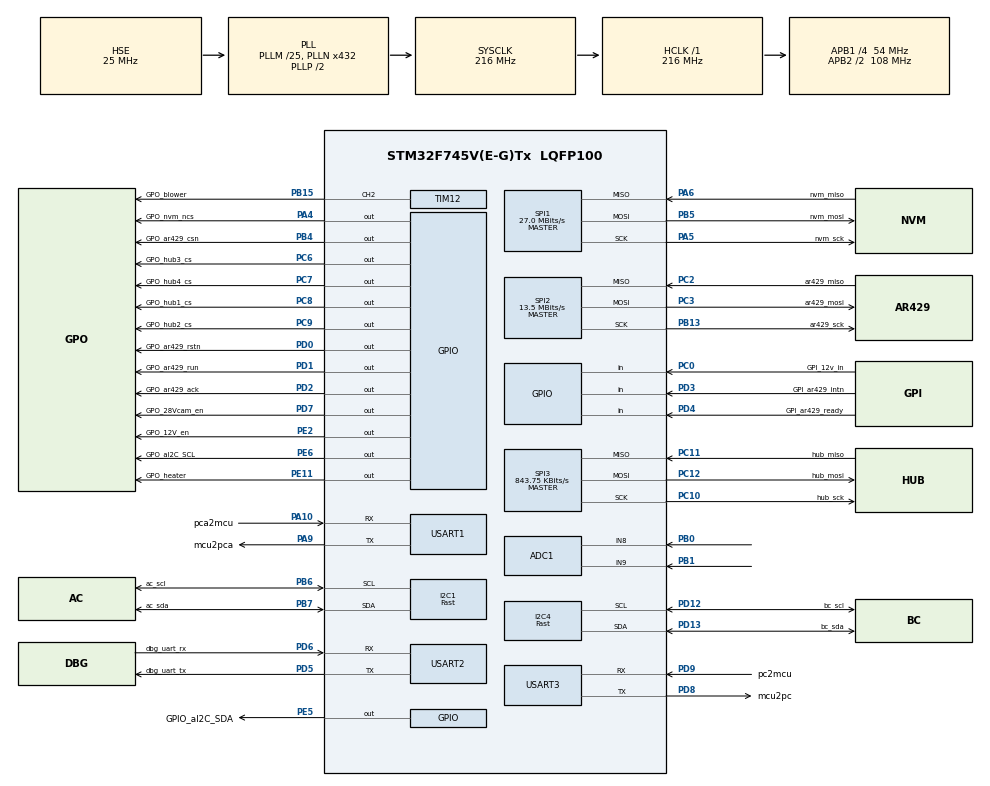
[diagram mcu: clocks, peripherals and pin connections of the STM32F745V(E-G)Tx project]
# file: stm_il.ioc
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ADC1.Channel-0\#ChannelRegularConversion=ADC_CHANNEL_8
ADC1.Channel-5\#ChannelRegularConversion=ADC_CHANNEL_9
ADC1.Channel-6\#ChannelRegularConversion=ADC_CHANNEL_TEMPSENSOR
ADC1.Channel-7\#ChannelRegularConversion=ADC_CHANNEL_VREFINT
ADC1.DMAContinuousRequests=ENABLE
ADC1.NbrOfConversion=4
ADC1.NbrOfConversionFlag=1
ADC1.Rank-0\#ChannelRegularConversion=1
ADC1.Rank-5\#ChannelRegularConversion=2
ADC1.Rank-6\#ChannelRegularConversion=3
ADC1.Rank-7\#ChannelRegularConversion=4
ADC1.SamplingTime-0\#ChannelRegularConversion=ADC_SAMPLETIME_3CYCLES
ADC1.SamplingTime-5\#ChannelRegularConversion=ADC_SAMPLETIME_3CYCLES
ADC1.SamplingTime-6\#ChannelRegularConversion=ADC_SAMPLETIME_3CYCLES
ADC1.SamplingTime-7\#ChannelRegularConversion=ADC_SAMPLETIME_3CYCLES
ADC1.master=1
CORTEX_M7.PREFETCH_ENABLE=1
Dma.ADC1.0.Direction=DMA_PERIPH_TO_MEMORY
Dma.ADC1.0.FIFOMode=DMA_FIFOMODE_DISABLE
Dma.ADC1.0.Instance=DMA2_Stream0
Dma.ADC1.0.MemDataAlignment=DMA_MDATAALIGN_HALFWORD
Dma.ADC1.0.MemInc=DMA_MINC_ENABLE
Dma.ADC1.0.Mode=DMA_NORMAL
Dma.ADC1.0.PeriphDataAlignment=DMA_PDATAALIGN_HALFWORD
Dma.ADC1.0.PeriphInc=DMA_PINC_DISABLE
Dma.ADC1.0.Priority=DMA_PRIORITY_LOW
Dma.Request0=ADC1
Dma.Request1=USART3_TX
Dma.USART3_TX.1.Direction=DMA_MEMORY_TO_PERIPH
Dma.USART3_TX.1.FIFOMode=DMA_FIFOMODE_DISABLE
Dma.USART3_TX.1.Instance=DMA1_Stream3
Dma.USART3_TX.1.MemDataAlignment=DMA_MDATAALIGN_BYTE
Dma.USART3_TX.1.MemInc=DMA_MINC_ENABLE
Dma.USART3_TX.1.Mode=DMA_NORMAL
Dma.USART3_TX.1.PeriphDataAlignment=DMA_PDATAALIGN_BYTE
Dma.USART3_TX.1.PeriphInc=DMA_PINC_DISABLE
Dma.USART3_TX.1.Priority=DMA_PRIORITY_LOW
I2C1.I2C_Speed_Mode=I2C_Fast
I2C1.Timing=0x6000030D
I2C4.Analog_Filter=I2C_ANALOGFILTER_ENABLE
I2C4.I2C_Speed_Mode=I2C_Fast
I2C4.Timeout=0x00008293
I2C4.Timing=0x6000030D
Mcu.Family=STM32F7
Mcu.Name=STM32F745V(E-G)Tx
Mcu.Package=LQFP100
NVIC.ADC_IRQn=true\:0\:0\:false\:false\:true\:true\:true
NVIC.DMA1_Stream3_IRQn=true\:0\:0\:false\:false\:true\:false\:true
NVIC.DMA2_Stream0_IRQn=true\:0\:0\:false\:false\:true\:false\:true
NVIC.PriorityGroup=NVIC_PRIORITYGROUP_4
NVIC.USART1_IRQn=true\:0\:0\:false\:false\:true\:true\:true
NVIC.USART2_IRQn=true\:0\:0\:false\:false\:true\:true\:true
NVIC.USART3_IRQn=true\:0\:0\:false\:false\:true\:true\:true
PA10.GPIO_Label=pca2mcu
PA10.GPIO_PuPd=GPIO_PULLUP
PA10.Mode=Asynchronous
PA10.Signal=USART1_RX
PA13.Mode=Trace_Asynchronous_SW
PA13.Signal=SYS_JTMS-SWDIO
PA14.Mode=Trace_Asynchronous_SW
PA14.Signal=SYS_JTCK-SWCLK
PA4.GPIO_Label=GPO_nvm_ncs
PA4.PinState=GPIO_PIN_SET
PA4.Signal=GPIO_Output
PA5.GPIO_Label=nvm_sck
PA5.Mode=Full_Duplex_Master
PA5.Signal=SPI1_SCK
PA6.GPIO_Label=nvm_miso
PA6.Mode=Full_Duplex_Master
PA6.Signal=SPI1_MISO
PA9.GPIO_Label=mcu2pca
PA9.GPIO_PuPd=GPIO_PULLUP
PA9.Mode=Asynchronous
PA9.Signal=USART1_TX
PB0.Signal=ADCx_IN8
PB1.Signal=ADCx_IN9
PB13.GPIO_Label=ar429_sck
PB13.Mode=Full_Duplex_Master
PB13.Signal=SPI2_SCK
PB15.GPIO_Label=GPO_blower
PB15.Signal=S_TIM12_CH2
PB3.Mode=Trace_Asynchronous_SW
PB3.Signal=SYS_JTDO-SWO
PB4.GPIO_Label=GPO_ar429_csn
PB4.PinState=GPIO_PIN_SET
PB4.Signal=GPIO_Output
PB5.GPIO_Label=nvm_mosi
PB5.Mode=Full_Duplex_Master
PB5.Signal=SPI1_MOSI
PB6.GPIO_Label=ac_scl
PB6.GPIO_Pu=GPIO_PULLUP
PB6.Mode=I2C
PB6.Signal=I2C1_SCL
PB7.GPIO_Label=ac_sda
PB7.GPIO_Pu=GPIO_PULLUP
PB7.Mode=I2C
PB7.Signal=I2C1_SDA
PC0.GPIO_Label=GPI_12v_in
PC0.GPIO_PuPd=GPIO_PULLUP
PC0.Signal=GPIO_Input
PC10.GPIO_Label=hub_sck
PC10.Mode=Full_Duplex_Master
PC10.Signal=SPI3_SCK
PC11.GPIO_Label=hub_miso
PC11.Mode=Full_Duplex_Master
PC11.Signal=SPI3_MISO
PC12.GPIO_Label=hub_mosi
PC12.Mode=Full_Duplex_Master
PC12.Signal=SPI3_MOSI
PC2.GPIO_Label=ar429_miso
PC2.Mode=Full_Duplex_Master
PC2.Signal=SPI2_MISO
PC3.GPIO_Label=ar429_mosi
PC3.Mode=Full_Duplex_Master
PC3.Signal=SPI2_MOSI
PC6.GPIO_Label=GPO_hub3_cs
PC6.PinState=GPIO_PIN_SET
PC6.Signal=GPIO_Output
PC7.GPIO_Label=GPO_hub4_cs
PC7.PinState=GPIO_PIN_SET
PC7.Signal=GPIO_Output
PC8.GPIO_Label=GPO_hub1_cs
PC8.PinState=GPIO_PIN_SET
PC8.Signal=GPIO_Output
PC9.GPIO_Label=GPO_hub2_cs
PC9.PinState=GPIO_PIN_SET
PC9.Signal=GPIO_Output
PD0.GPIO_Label=GPO_ar429_rstn
PD0.PinState=GPIO_PIN_SET
PD0.Signal=GPIO_Output
PD1.GPIO_Label=GPO_ar429_run
PD1.Signal=GPIO_Output
PD12.GPIO_Label=bc_scl
PD12.GPIO_Pu=GPIO_PULLUP
PD12.Mode=I2C
PD12.Signal=I2C4_SCL
PD13.GPIO_Label=bc_sda
PD13.GPIO_Pu=GPIO_PULLUP
PD13.Mode=I2C
PD13.Signal=I2C4_SDA
PD2.GPIO_Label=GPO_ar429_ack
PD2.Signal=GPIO_Output
PD3.GPIO_Label=GPI_ar429_intn
PD3.Signal=GPIO_Input
PD4.GPIO_Label=GPI_ar429_ready
PD4.Signal=GPIO_Input
PD5.GPIO_Label=dbg_uart_tx
PD5.GPIO_PuPd=GPIO_PULLUP
PD5.Mode=Asynchronous
PD5.Signal=USART2_TX
PD6.GPIO_Label=dbg_uart_rx
PD6.GPIO_PuPd=GPIO_PULLUP
PD6.Mode=Asynchronous
PD6.Signal=USART2_RX
PD7.GPIO_Label=GPO_28Vcam_en
PD7.PinState=GPIO_PIN_RESET
PD7.Signal=GPIO_Output
PD8.GPIO_Label=mcu2pc
PD8.GPIO_PuPd=GPIO_PULLUP
PD8.Mode=Asynchronous
PD8.Signal=USART3_TX
PD9.GPIO_Label=pc2mcu
PD9.GPIO_PuPd=GPIO_PULLUP
PD9.Mode=Asynchronous
PD9.Signal=USART3_RX
PE11.GPIO_Label=GPO_heater
PE11.Signal=GPIO_Output
PE2.GPIO_Label=GPO_12V_en
PE2.PinState=GPIO_PIN_RESET
PE2.Signal=GPIO_Output
PE5.GPIO_Label=GPIO_aI2C_SDA
PE5.Signal=GPIO_Output
PE6.GPIO_Label=GPO_aI2C_SCL
PE6.Signal=GPIO_Output
PH0/OSC_IN.Mode=HSE-External-Oscillator
PH0/OSC_IN.Signal=RCC_OSC_IN
PH1/OSC_OUT.Mode=HSE-External-Oscillator
PH1/OSC_OUT.Signal=RCC_OSC_OUT
ProjectManager.HeapSize=0x200
ProjectManager.StackSize=0x400
ProjectManager.TargetToolchain=STM32CubeIDE
RCC.AHBFreq_Value=216000000
RCC.APB1CLKDivider=RCC_HCLK_DIV4
RCC.APB1Freq_Value=54000000
RCC.APB1TimFreq_Value=108000000
RCC.APB2CLKDivider=RCC_HCLK_DIV2
RCC.APB2Freq_Value=108000000
RCC.APB2TimFreq_Value=216000000
RCC.CortexFreq_Value=216000000
RCC.HCLKFreq_Value=216000000
RCC.HSE_VALUE=25000000
RCC.HSI_VALUE=16000000
RCC.LSE_VALUE=32768
RCC.PLLM=25
RCC.PLLN=432
RCC.PLLSourceVirtual=RCC_PLLSOURCE_HSE
RCC.SYSCLKFreq_VALUE=216000000
RCC.SYSCLKSource=RCC_SYSCLKSOURCE_PLLCLK
RCC.USBFreq_Value=216000000
RCC.VCOOutputFreq_Value=432000000
SH.ADCx_IN8.0=ADC1_IN8,IN8
SH.ADCx_IN9.0=ADC1_IN9,IN9
SH.S_TIM12_CH2.0=TIM12_CH2,PWM Generation2 CH2
SPI1.BaudRatePrescaler=SPI_BAUDRATEPRESCALER_4
SPI1.CalculateBaudRate=27.0 MBits/s
SPI1.DataSize=SPI_DATASIZE_8BIT
SPI1.Direction=SPI_DIRECTION_2LINES
SPI1.Mode=SPI_MODE_MASTER
SPI1.NSSPMode=SPI_NSS_PULSE_DISABLE
SPI1.VirtualType=VM_MASTER
SPI2.BaudRatePrescaler=SPI_BAUDRATEPRESCALER_4
SPI2.CalculateBaudRate=13.5 MBits/s
SPI2.DataSize=SPI_DATASIZE_8BIT
SPI2.Direction=SPI_DIRECTION_2LINES
SPI2.Mode=SPI_MODE_MASTER
SPI2.NSSPMode=SPI_NSS_PULSE_DISABLE
SPI2.VirtualType=VM_MASTER
SPI3.BaudRatePrescaler=SPI_BAUDRATEPRESCALER_64
SPI3.CLKPhase=SPI_PHASE_1EDGE
SPI3.CalculateBaudRate=843.75 KBits/s
SPI3.DataSize=SPI_DATASIZE_8BIT
SPI3.Direction=SPI_DIRECTION_2LINES
SPI3.Mode=SPI_MODE_MASTER
SPI3.NSSPMode=SPI_NSS_PULSE_DISABLE
SPI3.VirtualType=VM_MASTER
TIM12.Channel-PWM\ Generation2\ CH2=TIM_CHANNEL_2
TIM12.Period=100
TIM12.Prescaler=0
USART1.OverrunDisableParam=ADVFEATURE_OVERRUN_DISABLE
USART1.VirtualMode-Asynchronous=VM_ASYNC
USART2.OverrunDisableParam=ADVFEATURE_OVERRUN_DISABLE
USART2.VirtualMode-Asynchronous=VM_ASYNC
USART3.OverrunDisableParam=ADVFEATURE_OVERRUN_DISABLE
USART3.VirtualMode-Asynchronous=VM_ASYNC
VP_ADC1_TempSens_Input.Mode=IN-TempSens
VP_ADC1_Vref_Input.Mode=IN-Vrefint
VP_RTC_VS_RTC_Activate.Mode=RTC_Enabled
board=custom

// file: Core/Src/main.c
/* USER CODE BEGIN Header */
/**
 ******************************************************************************
 * @file           : main.c
 * @brief          : Main program body
 ******************************************************************************
 * @attention
 *
 * <h2><center>&copy; Copyright (c) 2020 STMicroelectronics.
 * All rights reserved.</center></h2>
 *
 * This software component is licensed by ST under BSD 3-Clause license,
 * the "License"; You may not use this file except in compliance with the
 * License. You may obtain a copy of the License at:
 *                        opensource.org/licenses/BSD-3-Clause
 *
 ******************************************************************************
 */
/* USER CODE END Header */
#include "main.h"

#include "adc.h"
#include "dma.h"
#include "gpio.h"
#include "i2c.h"
#include "mcp23008.h"
#include "rtc.h"
#include "spi.h"
#include "tim.h"
#include "usart.h"

/* USER CODE BEGIN Includes */

#include <stdio.h>

#include "KSZ9567S_spi.h"
#include "arinc429.h"
#include "flash_W25Q32.h"
#include "powercontrol.h"
#include "stm32_status.h"
#include "terminal.h"

//#include "DBG.h" //DBG

/* USER CODE END Includes */

/* USER CODE BEGIN PD */
/**
 * @def MAIN_SYSTEM_START_DELAY_MS
 * @brief Задержка старта основной системы в миллисекундах.
 */
#define MAIN_SYSTEM_START_DELAY_MS 500

#define HUBS_CNT 4

/* USER CODE END PD */

/* USER CODE BEGIN PV */

/**
 * @brief Версия и дата сборки прошивки.
 */
const char strVersionDT[] = "IL114  22.07.22  20:38";

/**
 * @brief Номер выбранного канала (камеры).
 */
u8_t Channel_No = 0;

/**
 * @brief Таймер отладки.
 */
TTimer tmrDebug;

/**
 * @brief Терминал для отладочного вывода.
 */
TTerminal termDbg;

/**
 * @brief Терминал для связи с ПК.
 */
TTerminal termPc2MCU;

/**
 * @def UART2_TX_BUFFER_SIZE
 * @brief Размер буфера передачи UART2 для DMA.
 */
#define UART2_TX_BUFFER_SIZE 200

/**
 * @brief Буфер передачи UART2 для DMA.
 */
char uart2TxBuffer[UART2_TX_BUFFER_SIZE];

/**
 * @def UART1_TX_BUFFER_SIZE
 * @brief Размер буфера передачи UART1 для DMA.
 */
#define UART1_TX_BUFFER_SIZE 200

/**
 * @brief Буфер передачи UART1 для DMA.
 */
char uart1TxBuffer[UART1_TX_BUFFER_SIZE];

/**
 * @brief Переменные приёма UART.
 */
uint8_t uart1Recv;
uint8_t uart2Recv;
uint8_t uart3Recv;

/**
 * @brief Состояние приёма UART3.
 */
uint8_t uart3State = 0;

/**
 * @brief Буфер приёма UART3.
 */
char uart3RecvBuffer[10];

/**
 * @brief Индекс буфера приёма UART3.
 */
uint8_t uart3RecvBufferIndex = 0;

/**
 * @brief Флаг нового пакета UART3.
 */
uint8_t uart3NewPacket = 0;

/**
 * @brief Переключатель камеры.
 */
u8_t CamSwitch;

/**
 * @brief Матрица A300.
 */
enum A300_Matrix_e A300_Matrix;

/**
 * @brief Структура статуса системы.
 */
Status_t SYSTEM_Status;

/**
 * @brief Внешнее объединение ARINC_Word_300.
 */
extern union W300_t ARINC_Word_300;

/* USER CODE END PV */

void SystemClock_Config(void);

void Init_Peripherals(void);

static void W25Q32_Flash_Init(SPI_HandleTypeDef *hspi, GPIO_TypeDef *GPIO_Port, uint16_t GPIO_Pin);

void SetHubCSPins(GPIO_PinState state);

void Check12VPower(void);

/* USER CODE END 4 */

/* USER CODE BEGIN 0 */

/**
 * @brief Функция отладочного вывода через SWD (Serial Wire Debug) интерфейс
 * STM32. Используется для перенаправления вывода функций printf и puts.
 * @param file Не используется, параметр для совместимости с системным вызовом
 * write.
 * @param ptr Указатель на буфер с данными для вывода.
 * @param len Количество байт для вывода из буфера.
 * @retval Количество успешно выведенных байт.
 *
 * Данная функция посимвольно отправляет данные через ITM_SendChar, что
 * позволяет выводить отладочную информацию в отладчик, поддерживающий SWD.
 */
int _write(int file, char *ptr, int len)
{
    /* Implement your write code here, this is used by puts and printf for
     * example
     */
    int i = 0;
    for (i = 0; i < len; i++) ITM_SendChar((*ptr++));
    return len;
}

/* USER CODE END 0 */

/**
 * @brief  Main
 * @retval int
 */

int main(void)
{
    /* USER CODE BEGIN 1 */

    u8_t sw_pos__;

    /* USER CODE END 1 */

    /* MCU
     * Configuration--------------------------------------------------------*/

    /* Reset of all peripherals, Initializes the Flash interface and the
     * Systick.
     */
    HAL_Init();

    /* Configure the system clock */
    SystemClock_Config();

    /* Initialize all configured peripherals */
    Init_Peripherals();
    /* USER CODE BEGIN 2 */

    TERMINAL_init(&termDbg);
    TERMINAL_init(&termPc2MCU);

    TIMERS_setTimer(&tmrDebug, 30000);

    printf("init \n");

    W25Q32_Flash_Init(&hspi1, GPO_nvm_ncs_GPIO_Port, GPO_nvm_ncs_Pin);

    printf("STM32 status init...\n");
    STM32_init();  // инициализация стм32 после флеш и до инициализации лога !!!
                   // т.к. здесь может произойти очистка флэш-памяти

    SetHubCSPins(GPIO_PIN_RESET);  // Сброс всех пинов выбора чипа Ethernet-хабов

    // включение блока питания камер с задержкой
    HAL_Delay(MAIN_SYSTEM_START_DELAY_MS);
    HAL_GPIO_WritePin(GPO_28Vcam_en_GPIO_Port, GPO_28Vcam_en_Pin, GPIO_PIN_SET);

    SetHubCSPins(GPIO_PIN_SET);  // Установка всех пинов выбора чипа Ethernet-хабов

    HAL_Delay(200);

    // Инициализация ethernet hubs
    T_KSZ9567S_SPI hub[HUBS_CNT];

    InitEthernetHubs(
        hub, &hspi3,
        (GPIO_TypeDef *[]){GPO_hub1_cs_GPIO_Port, GPO_hub2_cs_GPIO_Port,
                           GPO_hub3_cs_GPIO_Port, GPO_hub4_cs_GPIO_Port},
        (uint16_t[]){GPO_hub1_cs_Pin, GPO_hub2_cs_Pin, GPO_hub3_cs_Pin,
                     GPO_hub4_cs_Pin},
        HUBS_CNT);

    InitEthernetHubRegisters(hub, HUBS_CNT);

    // включение вентилятора
    HAL_TIM_PWM_Start(&htim12, TIM_CHANNEL_2);

    // включение блока питания компьютера
    // после настройки SGMII
    HAL_GPIO_WritePin(GPO_12V_en_GPIO_Port, GPO_12V_en_Pin, GPIO_PIN_SET);
    HAL_Delay(500);

    POWER_init(&hi2c1, &hi2c4);
    HAL_Delay(300);

    ARINC429_init(&hspi2);

    /* USER CODE END 2 */

    /* Infinite loop */
    /* USER CODE BEGIN WHILE */

    HAL_UART_Receive_IT(&huart1, &uart1Recv, 1);
    HAL_UART_Receive_IT(&huart2, &uart2Recv, 1);
    HAL_UART_Receive_IT(&huart3, &uart3Recv, 1);

    // Удалены инициализации глобальных переменных, так как они теперь локальные статические в Check12VPower
    // in12vCnt = 0;
    // in12vValue = 0;
    // in12vTrigger = 0;

    htim12.Instance->CCR2 = 100;  // включение вентилятора на 100%, шим был в
                                  // качестве эксперимента, оказалось не удачно

    //==================================================================================//
    extern MCP23008_t ic_mcp23008;

    MCP23008_init();

    // ===== STATUSES: Set INITIAL STATE =====
    A300_Matrix = AMX_NORMAL_OPERATION;
    //  System_Status = 		SYS_NORMAL_OPERATION;
    //  SrvRouter_Status = 	SRS_NORMAL_OPERATION;
    //  Storage_Status = 		STS_NORMAL_OPERATION;

    //  extern Status_t Status;

    SYSTEM_Status.system_stat = SYS_FAULT;
    //  SYSTEM_Status.srvrouter = SRS_NORMAL_OPERATION;
    //  SYSTEM_Status.storage = 	STS_NORMAL_OPERATION;
    SYSTEM_Status.srvrouter_stat = 1;
    //  SYSTEM_Status.storage_stat 	= SYS_NORMAL_OPERATION /* когда
    //  сервер будет присылать его реальный статус поставить здесь SYS_FAULT*/;
    SYSTEM_Status.storage_stat = 1;
    SYSTEM_Status.XAE21_fault = true;
    SYSTEM_Status.cam_switch_fault = true;

    arinc429Control.FORMAT1 = BASE_FORMAT1;

    //  npkts = 0;//DBG
    //  DBG_init_HAL();//DBG

    //==================================================================================//

    while (1)
    {

        /*
            Макрос _STR служит для генерации короткого импульса на определённом выводе микроконтроллера.
            Для измерения времени выполнения кода с помощью осциллографа (наверно)
        */
        _STR

        // services:
        // terminal 1
        TERMINAL_process(&termDbg);
        if (termDbg.cbOutput.count)
        {
            if (huart2.gState == HAL_UART_STATE_READY)
            {
                int count = termDbg.cbOutput.count;
                if (count > UART2_TX_BUFFER_SIZE) count = UART2_TX_BUFFER_SIZE;
                CBUFF_getFirstNBytes(&termDbg.cbOutput, (char *)uart2TxBuffer,
                                     count);
                // transmit uart 2
                HAL_UART_Transmit(&huart2, (unsigned char *)uart2TxBuffer,
                                  count, 100);
            }
        }

        // terminal 2
        TERMINAL_process(&termPc2MCU);
        if (termPc2MCU.cbOutput.count)
        {
            if (huart1.gState == HAL_UART_STATE_READY)
            {
                int count = termPc2MCU.cbOutput.count;
                if (count > UART1_TX_BUFFER_SIZE) count = UART1_TX_BUFFER_SIZE;
                CBUFF_getFirstNBytes(&termPc2MCU.cbOutput,
                                     (char *)uart1TxBuffer, count);
                // transmit uart 1
                HAL_UART_Transmit(&huart1, (unsigned char *)uart1TxBuffer,
                                  count, 100);
            }
        }

        // usart3 arinc-429 translate
        if (uart3NewPacket)
        {
            char buffer[127] = {0};
            char size = 127;
            uart3NewPacket = 0;

            ARINC429_Proto_InputPacket(uart3RecvBuffer, uart3RecvBufferIndex,
                                       &buffer[0], &size);
            if (size > 0)
            {
                HAL_UART_Transmit(&huart3, &buffer[0], size, 100);
            }
        }

        // devices:
        STM32_process();

        POWER_process();

        ARINC429_process();

        // check and reset uart1
        if (huart1.RxState == HAL_UART_STATE_READY)
        {
            __HAL_UART_CLEAR_OREFLAG(&huart1);
            if (HAL_UART_Receive_IT(&huart1, &uart1Recv, 1) != HAL_OK)
                Error_Handler();
        }  // */
        // check and reset uart2
        if (huart2.RxState == HAL_UART_STATE_READY)
        {
            __HAL_UART_CLEAR_OREFLAG(&huart2);
            if (HAL_UART_Receive_IT(&huart2, &uart2Recv, 1) != HAL_OK)
                Error_Handler();
        }  // */
        // check and reset uart3
        if (huart3.RxState == HAL_UART_STATE_READY)
        {
            __HAL_UART_CLEAR_OREFLAG(&huart3);
            if (HAL_UART_Receive_IT(&huart3, &uart3Recv, 1) != HAL_OK)
                Error_Handler();
        }  // */

        // проверка наличия 12В и передергивание 28в и 3в (запаралелено)
        Check12VPower();

        /* USER CODE END WHILE */

        /* USER CODE BEGIN 3 */

        // Опрос переключателя выбора камеры и перевод в номер выбранной камеры
        sw_pos__ = MCP23008_Read_Reg(&ic_mcp23008, 9) &
                   0x3F;  // старшие два бита MCP23008 жестко сидят на +V

        u8_t ch_no;
        for (ch_no = 0; ch_no < CHANNELS_TOTAL; ch_no++)
        {
            if (sw_pos__ & 0x01) break;
            sw_pos__ >>= 1;
        }

        // Номер камеры передается как от 1-й до 6-й,
        // если камера не выбрана (напр. сломан переключатель) - будет передан 0
        // - признак неисправности
        Channel_No = (ch_no < CHANNELS_TOTAL ? ch_no + 1 : 0);

        SYSTEM_Status.cam_switch_fault =
            (Channel_No ? 0 : 1);  // если свитч неисправен, он будет давать '0'
    }
    /* USER CODE END 3 */
}

void SystemClock_Config(void)
{
    RCC_OscInitTypeDef RCC_OscInitStruct = {0};
    RCC_ClkInitTypeDef RCC_ClkInitStruct = {0};

    /** Configure the main internal regulator output voltage
     */
    __HAL_RCC_PWR_CLK_ENABLE();
    __HAL_PWR_VOLTAGESCALING_CONFIG(PWR_REGULATOR_VOLTAGE_SCALE1);
    /** Initializes the RCC Oscillators according to the specified parameters
     * in the RCC_OscInitTypeDef structure.
     */
    RCC_OscInitStruct.OscillatorType =
        RCC_OSCILLATORTYPE_LSI | RCC_OSCILLATORTYPE_HSE;
    RCC_OscInitStruct.HSEState = RCC_HSE_ON;
    RCC_OscInitStruct.LSIState = RCC_LSI_ON;
    RCC_OscInitStruct.PLL.PLLState = RCC_PLL_ON;
    RCC_OscInitStruct.PLL.PLLSource = RCC_PLLSOURCE_HSE;
    RCC_OscInitStruct.PLL.PLLM = 25;
    RCC_OscInitStruct.PLL.PLLN = 432;
    RCC_OscInitStruct.PLL.PLLP = RCC_PLLP_DIV2;
    RCC_OscInitStruct.PLL.PLLQ = 2;
    if (HAL_RCC_OscConfig(&RCC_OscInitStruct) != HAL_OK)
    {
        Error_Handler();
    }
    /** Activate the Over-Drive mode
     */
    if (HAL_PWREx_EnableOverDrive() != HAL_OK)
    {
        Error_Handler();
    }
    /** Initializes the CPU, AHB and APB buses clocks
     */
    RCC_ClkInitStruct.ClockType = RCC_CLOCKTYPE_HCLK | RCC_CLOCKTYPE_SYSCLK |
                                  RCC_CLOCKTYPE_PCLK1 | RCC_CLOCKTYPE_PCLK2;
    RCC_ClkInitStruct.SYSCLKSource = RCC_SYSCLKSOURCE_PLLCLK;
    RCC_ClkInitStruct.AHBCLKDivider = RCC_SYSCLK_DIV1;
    RCC_ClkInitStruct.APB1CLKDivider = RCC_HCLK_DIV4;
    RCC_ClkInitStruct.APB2CLKDivider = RCC_HCLK_DIV2;

    if (HAL_RCC_ClockConfig(&RCC_ClkInitStruct, FLASH_LATENCY_7) != HAL_OK)
    {
        Error_Handler();
    }
}

/* USER CODE BEGIN 4 */

//====================================================================
void HAL_UART_RxCpltCallback(UART_HandleTypeDef *huart)
{
    if (huart == &huart1)
    {
        // printf ("%02X  %c", uart1Recv, uart1Recv);
        TERMINAL_recvByte(&termPc2MCU, uart1Recv);
        HAL_UART_Receive_IT(&huart1, &uart1Recv, 1);
    }
    else if (huart == &huart2)
    {
        // printf ("%02X  %c", uart2Recv, uart2Recv);
        TERMINAL_recvByte(&termDbg, uart2Recv);
        HAL_UART_Receive_IT(&huart2, &uart2Recv, 1);
    }
    else if (huart == &huart3)
    {
        if (uart3Recv == (uint8_t)0xBE || uart3Recv == (uint8_t)0xCE)
        {
            uart3State = 1;
            uart3RecvBufferIndex = 0;
            uart3NewPacket = 0;
        }

        if (uart3State)
        {
            uart3RecvBuffer[uart3RecvBufferIndex] = uart3Recv;
            uart3RecvBufferIndex++;
            if (uart3RecvBufferIndex > 2)
            {
                uart3State = 0;
                uart3NewPacket = 1;
            }
        }

        // printf ("%02X  %c", uart3Recv, uart3Recv);
        HAL_UART_Receive_IT(&huart3, &uart3Recv, 1);
    }
}

/* USER CODE END 4 */
/**
 * @brief Проверка наличия 12В питания с фильтрацией помех.
 *
 * Функция выполняет 30-кратное считывание состояния входа 12В питания,
 * суммирует значения для фильтрации единичных импульсов и управляет
 * состоянием питания камер и Ethernet-хабов в зависимости от результата.
 *
 * Использует статические локальные переменные для сохранения состояния между вызовами.
 *
 * При отсутствии питания (in12vValue == 0) и если питание было включено,
 * функция отключает питание камер и хабов.
 * При наличии питания (in12vValue == 30) и если питание было отключено,
 * функция включает питание камер и хабов.
 */
void Check12VPower(void)
{
    static char in12vCnt = 0;
    static char in12vValue = 0;
    static char in12vTrigger = 0;

    char t = HAL_GPIO_ReadPin(GPI_12v_in_GPIO_Port, GPI_12v_in_Pin);

    in12vValue += t;
    in12vCnt++;

    if (in12vCnt >= 30)
    {  // 30-ти кратная проверка, для фильтрации единичных импульсов
        if (in12vValue == 0)
        {
            if (in12vTrigger == 0)
            {
                in12vTrigger = 1;
                HAL_GPIO_WritePin(GPO_28Vcam_en_GPIO_Port, GPO_28Vcam_en_Pin,
                                  GPIO_PIN_RESET);
                HAL_GPIO_WritePin(GPO_hub1_cs_GPIO_Port, GPO_hub1_cs_Pin,
                                  GPIO_PIN_RESET);
                HAL_GPIO_WritePin(GPO_hub2_cs_GPIO_Port, GPO_hub2_cs_Pin,
                                  GPIO_PIN_RESET);
                HAL_GPIO_WritePin(GPO_hub3_cs_GPIO_Port, GPO_hub3_cs_Pin,
                                  GPIO_PIN_RESET);
                HAL_GPIO_WritePin(GPO_hub4_cs_GPIO_Port, GPO_hub4_cs_Pin,
                                  GPIO_PIN_RESET);
            }
        }
        else if (in12vValue == 30)
        {
            if (in12vTrigger == 1)
            {
                in12vTrigger = 0;
                HAL_GPIO_WritePin(GPO_28Vcam_en_GPIO_Port, GPO_28Vcam_en_Pin,
                                  GPIO_PIN_SET);
                HAL_GPIO_WritePin(GPO_hub1_cs_GPIO_Port, GPO_hub1_cs_Pin,
                                  GPIO_PIN_SET);
                HAL_GPIO_WritePin(GPO_hub2_cs_GPIO_Port, GPO_hub2_cs_Pin,
                                  GPIO_PIN_SET);
                HAL_GPIO_WritePin(GPO_hub3_cs_GPIO_Port, GPO_hub3_cs_Pin,
                                  GPIO_PIN_SET);
                HAL_GPIO_WritePin(GPO_hub4_cs_GPIO_Port, GPO_hub4_cs_Pin,
                                  GPIO_PIN_SET);
            }
        }

        in12vCnt = 0;
        in12vValue = 0;
    }
}

/**
 * @brief Устанавливает состояние всех пинов выбора чипа Ethernet-хабов.
 *
 * Эта функция упрощает управление состоянием пинов выбора чипа (chip select)
 * для всех четырёх Ethernet-хабов, объединяя повторяющиеся вызовы HAL_GPIO_WritePin
 * в одном месте.
 *
 * @param state Желаемое состояние пинов: GPIO_PIN_SET или GPIO_PIN_RESET.
 */
void SetHubCSPins(GPIO_PinState state)
{
    // Установка состояния всех пинов выбора чипа Ethernet-хабов
    HAL_GPIO_WritePin(GPO_hub1_cs_GPIO_Port, GPO_hub1_cs_Pin, state);
    HAL_GPIO_WritePin(GPO_hub2_cs_GPIO_Port, GPO_hub2_cs_Pin, state);
    HAL_GPIO_WritePin(GPO_hub3_cs_GPIO_Port, GPO_hub3_cs_Pin, state);
    HAL_GPIO_WritePin(GPO_hub4_cs_GPIO_Port, GPO_hub4_cs_Pin, state);
}

/**
 * @brief Инициализация всех необходимых периферийных устройств.
 *
 * Функция выполняет последовательную инициализацию следующих периферийных модулей:
 * - GPIO (ввод/вывод общего назначения)
 * - DMA (прямой доступ к памяти)
 * - SPI1, SPI2, SPI3 (последовательный периферийный интерфейс)
 * - I2C1, I2C4 (интерфейс межинтегральной связи)
 * - ADC1 (аналогово-цифровой преобразователь)
 * - RTC (часы реального времени)
 * - USART1, USART2, USART3 (универсальный асинхронный приёмопередатчик)
 * - TIM12 (таймер)
 *
 * Данная функция должна быть вызвана для настройки аппаратных модулей перед их использованием.
 */
void Init_Peripherals(void)
{
    MX_GPIO_Init();
    MX_DMA_Init();
    MX_SPI1_Init();
    MX_SPI3_Init();
    MX_I2C1_Init();
    MX_SPI2_Init();
    MX_ADC1_Init();
    MX_RTC_Init();
    MX_I2C4_Init();
    MX_USART3_UART_Init();
    MX_USART1_UART_Init();
    MX_USART2_UART_Init();
    MX_TIM12_Init();
}

/**
 * @brief Инициализация флэш-памяти W25Q32.
 *
 * Выполняет инициализацию флэш-памяти W25Q32 с использованием указанного SPI
 * интерфейса и GPIO для выбора чипа (chip select).
 * Эта инициализация должна быть выполнена до инициализации STM32 и логгера,
 * чтобы обеспечить очистку флэш-памяти.
 *
 * @param hspi Указатель на SPI интерфейс (SPI_HandleTypeDef).
 * @param GPIO_Port Указатель на GPIO порт для выбора чипа.
 * @param GPIO_Pin Пин GPIO для выбора чипа.
 */
static void W25Q32_Flash_Init(SPI_HandleTypeDef *hspi, GPIO_TypeDef *GPIO_Port, uint16_t GPIO_Pin)
{
    printf("W25Q32 init...\n");
    FLASH_W25Q32_init(hspi, GPIO_Port, GPIO_Pin);
}

/**
 * @brief Инициализация массива Ethernet-хабов.
 *
 * Эта функция инициализирует каждый элемент массива hub, устанавливая
 * SPI-интерфейс, порт GPIO и пин для выбора чипа (chip select).
 *
 * @param hub Массив структур T_KSZ9567S_SPI для инициализации.
 * @param spi Указатель на SPI-интерфейс, используемый всеми хабами.
 * @param ports Массив указателей на GPIO-порты для выбора чипа каждого хаба.
 * @param pins Массив пинов GPIO для выбора чипа каждого хаба.
 * @param count Количество хабов в массиве.
 */
void InitEthernetHubs(T_KSZ9567S_SPI hub[], SPI_HandleTypeDef *spi,
                      GPIO_TypeDef *ports[], uint16_t pins[], int count)
{
    for (int i = 0; i < count; i++)
    {
        hub[i].spi = spi;
        hub[i].GPIO_port = ports[i];
        hub[i].GPIO_pin = pins[i];
    }
}

/**
 * @brief Настройка регистров каждого Ethernet-хаба.
 *
 * Эта функция выполняет последовательность SPI-записей для настройки внутренних
 * регистров каждого хаба, включая установку задержки, сброс и конфигурацию
 * SGMII.
 *
 * @param hub Массив структур T_KSZ9567S_SPI, представляющих хабы для настройки.
 * @param count Количество хабов в массиве.
 */
void InitEthernetHubRegisters(T_KSZ9567S_SPI hub[], int count)
{
    for (int i = 0; i < count; i++)
    {
        KSZ9567_SPI_RegWriteByte(&hub[i], 0x6301,
                                 0x18);  // set ingress internal delay to 1.5ns
        KSZ9567_SPI_SgmiiRegWrite(&hub[i], 0x1F0000, 0x8140);  // reset
        KSZ9567_SPI_SgmiiRegWrite(
            &hub[i], 0x1F8001,
            0x14);  // (SGMII) set to MAC device, set SGMII Link Status to 1
        KSZ9567_SPI_SgmiiRegWrite(&hub[i], 0x1F0004, 0x20);
    }
}

/**
 * @brief  Обработка ошибок
 * @retval None
 */
void Error_Handler(void)
{
    /* USER CODE BEGIN Error_Handler_Debug */
    /* User can add his own implementation to report the HAL error return state
     */

    static u32_t Errs_Qty = 0;

    Errs_Qty++;
    /* USER CODE END Error_Handler_Debug */
}

#ifdef USE_FULL_ASSERT
/**
 * @brief  Reports the name of the source file and the source line number
 *         where the assert_param error has occurred.
 * @param  file: pointer to the source file name
 * @param  line: assert_param error line source number
 * @retval None
 */
void assert_failed(uint8_t *file, uint32_t line)
{
    /* USER CODE BEGIN 6 */
    /* User can add his own implementation to report the file name and line
       number, tex: printf("Wrong parameters value: file %s on line %d\r\n",
       file, line) */
    /* USER CODE END 6 */
}
#endif /* USE_FULL_ASSERT */
